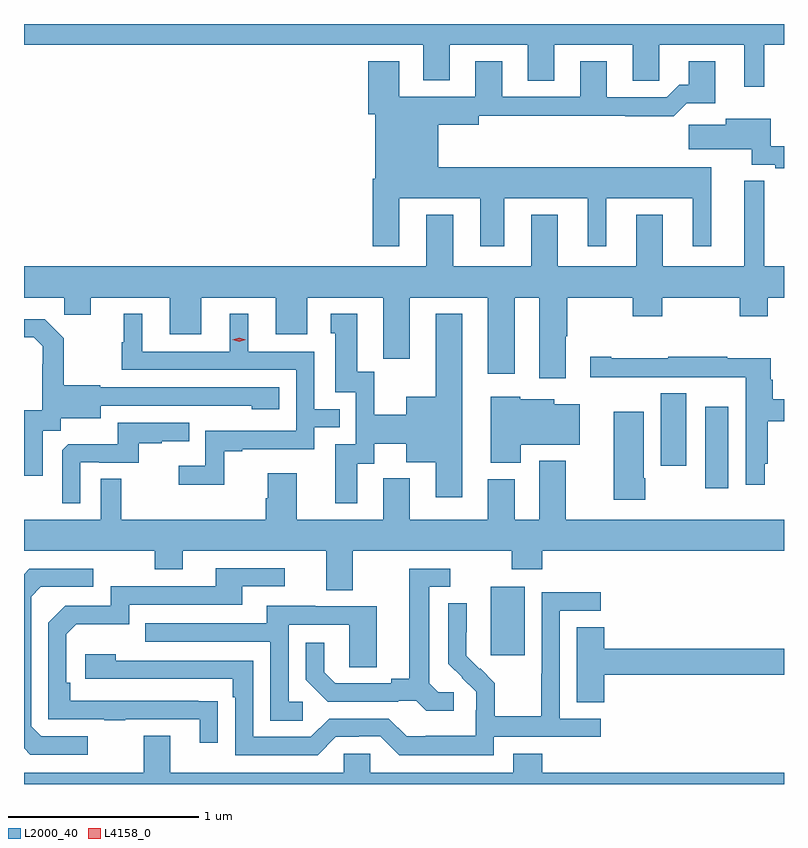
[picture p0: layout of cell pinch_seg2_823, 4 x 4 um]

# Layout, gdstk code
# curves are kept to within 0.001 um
import gdstk
lib = gdstk.Library(unit=1e-6, precision=1e-09)
def R(c, l, rs):  # rectangles x0, y0, x1, y1
    for r in rs: c.add(gdstk.rectangle(r[:2], r[2:], *l))
def P(c, l, *ps):  # polygons
    for p in ps: c.add(gdstk.Polygon(p, *l))
L2000_40 = (2000, 40)
L4158_0 = (4158, 0)

pinch_seg2_823 = lib.new_cell('pinch_seg2_823')
R(pinch_seg2_823, L2000_40, [(870.638,597.801,870.817,598.162), (871.766,598.68,871.888,599.11), (871.532,598.8,871.666,599.18)])
P(pinch_seg2_823, L2000_40, [(872.077,601.016),(872.181,601.016),(872.181,601.124),(868.181,601.124),(868.181,601.016),(870.281,601.016),(870.281,600.827),(870.421,600.827),(870.421,601.016),(870.833,601.016),(870.833,600.826),(870.973,600.826),(870.973,601.016),(871.385,601.016),(871.385,600.826),(871.524,600.826),(871.524,601.016),(871.973,601.016),(871.973,600.795),(872.077,600.795)],
  [(870.157,600.206),(870.581,600.206),(870.581,599.955),(870.709,599.955),(870.709,600.206),(871.148,600.206),(871.148,599.955),(871.246,599.955),(871.246,600.206),(871.7,600.206),(871.7,599.955),(871.798,599.955),(871.798,600.37),(870.361,600.37),(870.361,600.593),(870.574,600.593),(870.574,600.64),(871.345,600.64),(871.345,600.638),(871.601,600.638),(871.67,600.707),(871.819,600.707),(871.819,600.928),(871.679,600.928),(871.679,600.805),(871.63,600.805),(871.563,600.738),(871.249,600.738),(871.249,600.928),(871.109,600.928),(871.109,600.741),(870.697,600.741),(870.697,600.928),(870.557,600.928),(870.557,600.742),(870.157,600.742),(870.157,600.928),(869.993,600.928),(869.993,600.648),(870.029,600.648),(870.029,600.31),(870.017,600.31),(870.017,599.955),(870.157,599.955)],
  [(872.181,600.481),(872.11,600.481),(872.11,600.625),(871.874,600.625),(871.874,600.593),(871.68,600.593),(871.68,600.464),(872.012,600.464),(872.012,600.384),(872.135,600.384),(872.135,600.364),(872.181,600.364)],
  [(871.033,599.48),(871.041,599.48),(871.041,599.684),(871.384,599.684),(871.384,599.585),(871.539,599.585),(871.539,599.684),(871.948,599.684),(871.948,599.585),(872.095,599.585),(872.095,599.684),(872.181,599.684),(872.181,599.848),(872.077,599.848),(872.077,600.298),(871.973,600.298),(871.973,599.848),(871.543,599.848),(871.543,600.121),(871.403,600.121),(871.403,599.848),(870.991,599.848),(870.991,600.121),(870.851,600.121),(870.851,599.848),(870.439,599.848),(870.439,600.121),(870.299,600.121),(870.299,599.848),(868.181,599.848),(868.181,599.684),(868.393,599.684),(868.393,599.594),(868.531,599.594),(868.531,599.684),(868.949,599.684),(868.949,599.49),(869.113,599.49),(869.113,599.684),(869.507,599.684),(869.507,599.49),(869.671,599.49),(869.671,599.684),(870.071,599.684),(870.071,599.473),(870.072,599.473),(870.072,599.361),(870.211,599.361),(870.211,599.684),(870.623,599.684),(870.623,599.283),(870.763,599.283),(870.763,599.684),(870.893,599.684),(870.893,599.259),(871.033,599.259)],
  [(869.935,598.81),(870.025,598.81),(870.025,598.916),(870.194,598.916),(870.194,598.817),(870.347,598.817),(870.347,598.632),(870.487,598.632),(870.487,599.599),(870.347,599.599),(870.347,599.161),(870.194,599.161),(870.194,599.068),(870.024,599.068),(870.024,599.295),(869.935,599.295),(869.935,599.599),(869.795,599.599),(869.795,599.496),(869.819,599.496),(869.819,599.187),(869.928,599.187),(869.928,598.911),(869.819,598.911),(869.819,598.602),(869.935,598.602)],
  [(869.235,598.875),(869.329,598.875),(869.329,598.887),(869.709,598.887),(869.709,599.001),(869.843,599.001),(869.843,599.097),(869.709,599.097),(869.709,599.4),(869.362,599.4),(869.362,599.599),(869.264,599.599),(869.264,599.4),(868.804,599.4),(868.804,599.599),(868.706,599.599),(868.706,599.448),(868.695,599.448),(868.695,599.304),(869.613,599.304),(869.613,598.983),(869.136,598.983),(869.136,598.798),(868.995,598.798),(868.995,598.7),(869.235,598.7)],
  [(868.279,598.984),(868.374,598.984),(868.374,599.048),(868.585,599.048),(868.585,599.115),(869.379,599.114),(869.379,599.096),(869.524,599.096),(869.524,599.211),(868.581,599.211),(868.581,599.224),(868.389,599.224),(868.389,599.469),(868.289,599.569),(868.181,599.569),(868.181,599.475),(868.233,599.475),(868.28,599.428),(868.28,599.333),(868.278,599.333),(868.278,599.092),(868.181,599.092),(868.181,598.746),(868.279,598.746)],
  [(872.079,598.81),(872.096,598.81),(872.096,599.032),(872.181,599.032),(872.181,599.149),(872.123,599.149),(872.123,599.252),(872.11,599.252),(872.11,599.364),(871.883,599.364),(871.883,599.374),(871.573,599.374),(871.573,599.364),(871.273,599.364),(871.273,599.374),(871.161,599.374),(871.161,599.264),(871.436,599.264),(871.436,599.265),(871.77,599.265),(871.77,599.264),(871.98,599.264),(871.98,598.698),(872.079,598.698)],
  [(870.796,598.91),(871.105,598.91),(871.105,599.122),(870.972,599.122),(870.972,599.149),(870.792,599.149),(870.792,599.161),(870.638,599.161),(870.638,598.814),(870.796,598.814)],
  [(871.452,598.732),(871.444,598.732),(871.444,599.083),(871.286,599.083),(871.286,598.62),(871.452,598.62)],
  [(868.476,598.818),(868.576,598.818),(868.576,598.815),(868.784,598.815),(868.784,598.917),(868.907,598.917),(868.907,598.928),(869.051,598.928),(869.051,599.025),(868.674,599.025),(868.674,598.913),(868.415,598.913),(868.383,598.881),(868.383,598.601),(868.476,598.601)],
  [(869.911,598.352),(870.748,598.352),(870.748,598.253),(870.908,598.253),(870.908,598.352),(872.181,598.352),(872.181,598.516),(871.033,598.516),(871.033,598.825),(870.893,598.825),(870.893,598.516),(870.763,598.516),(870.763,598.729),(870.623,598.729),(870.623,598.516),(870.211,598.516),(870.211,598.732),(870.071,598.732),(870.071,598.516),(869.617,598.516),(869.617,598.759),(869.465,598.759),(869.465,598.629),(869.453,598.629),(869.453,598.516),(868.693,598.516),(868.693,598.73),(868.584,598.73),(868.584,598.516),(868.181,598.516),(868.181,598.352),(868.87,598.352),(868.87,598.253),(869.017,598.253),(869.017,598.352),(869.771,598.352),(869.771,598.144),(869.911,598.144)],
  [(869.201,597.56),(868.424,597.561),(868.424,597.658),(868.404,597.658),(868.404,597.912),(868.457,597.965),(868.734,597.965),(868.734,598.068),(869.329,598.068),(869.329,598.164),(869.554,598.164),(869.554,598.26),(869.189,598.26),(869.189,598.164),(868.638,598.164),(868.638,598.062),(868.398,598.062),(868.308,597.972),(868.308,597.465),(868.603,597.465),(868.603,597.46),(868.715,597.46),(868.715,597.465),(869.105,597.465),(869.105,597.342),(869.201,597.342)],
  [(868.516,597.375),(868.272,597.375),(868.218,597.429),(868.218,598.11),(868.269,598.161),(868.546,598.161),(868.546,598.257),(868.209,598.257),(868.181,598.229),(868.181,597.313),(868.215,597.279),(868.516,597.279)],
  [(870.442,597.606),(870.36,597.606),(870.313,597.653),(870.313,598.161),(870.424,598.161),(870.424,598.257),(870.209,598.257),(870.209,597.677),(870.113,597.677),(870.113,597.654),(869.818,597.654),(869.761,597.711),(869.761,597.868),(869.664,597.868),(869.664,597.674),(869.78,597.558),(870.152,597.558),(870.152,597.561),(870.246,597.561),(870.298,597.509),(870.442,597.509)],
  [(870.654,597.372),(871.216,597.372),(871.216,597.468),(871.002,597.468),(871.002,598.035),(871.216,598.035),(871.216,598.134),(870.906,598.134),(870.906,597.704),(870.904,597.704),(870.904,597.481),(870.659,597.481),(870.659,597.655),(870.582,597.732),(870.579,597.729),(870.509,597.8),(870.51,598.076),(870.414,598.076),(870.414,597.758),(870.56,597.61),(870.56,597.513),(870.558,597.513),(870.558,597.379),(870.295,597.379),(870.295,597.375),(870.195,597.375),(870.102,597.468),(869.787,597.468),(869.691,597.372),(869.388,597.372),(869.388,597.774),(868.664,597.774),(868.664,597.808),(868.503,597.808),(868.503,597.678),(869.279,597.678),(869.279,597.581),(869.292,597.581),(869.292,597.276),(869.727,597.276),(869.823,597.372),(869.942,597.372),(869.942,597.375),(870.057,597.375),(870.157,597.275),(870.654,597.275)],
  [(869.647,597.558),(869.574,597.558),(869.574,597.963),(869.892,597.963),(869.892,597.739),(870.037,597.739),(870.037,598.059),(869.713,598.059),(869.713,598.063),(869.459,598.063),(869.459,597.969),(868.819,597.969),(868.819,597.873),(869.478,597.873),(869.478,597.457),(869.647,597.457)],
  [(871.235,597.7),(872.181,597.7),(872.181,597.836),(871.235,597.836),(871.235,597.95),(871.091,597.95),(871.091,597.553),(871.235,597.553)],
  [(872.181,597.184),(870.908,597.184),(870.908,597.283),(870.755,597.283),(870.755,597.184),(870.003,597.184),(870.003,597.282),(869.865,597.282),(869.865,597.184),(868.951,597.184),(868.951,597.379),(868.811,597.379),(868.811,597.184),(868.181,597.184),(868.181,597.124),(872.181,597.124)])
P(pinch_seg2_823, L4158_0, [(869.313,599.452),(869.277,599.461),(869.277,599.462),(869.277,599.462),(869.313,599.472),(869.348,599.462),(869.349,599.462),(869.348,599.461)])

lib.write_gds('pinch_seg2_823.gds')
